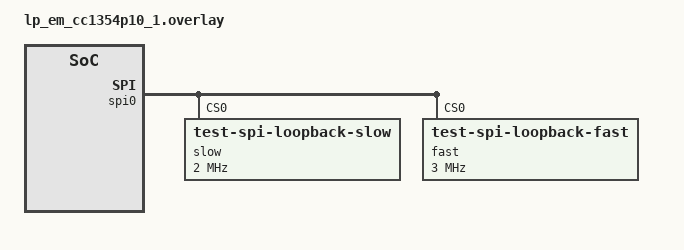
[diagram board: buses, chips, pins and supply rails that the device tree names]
/*
 * Copyright (c) 2026 Texas Instruments Incorporated
 *
 * SPDX-License-Identifier: Apache-2.0
 */

&dma0 {
	status = "okay";
};

&spi0 {
	status = "okay";

	/* uDMA channels are fixed by the silicon: SPI0 TX = 4, RX = 3 */
	dmas = <&dma0 4 0>, <&dma0 3 0>;
	dma-names = "tx", "rx";

	slow@0 {
		compatible = "test-spi-loopback-slow";
		reg = <0>;
		spi-max-frequency = <2000000>;
	};

	fast@0 {
		compatible = "test-spi-loopback-fast";
		reg = <0>;
		spi-max-frequency = <3000000>;
	};
};
